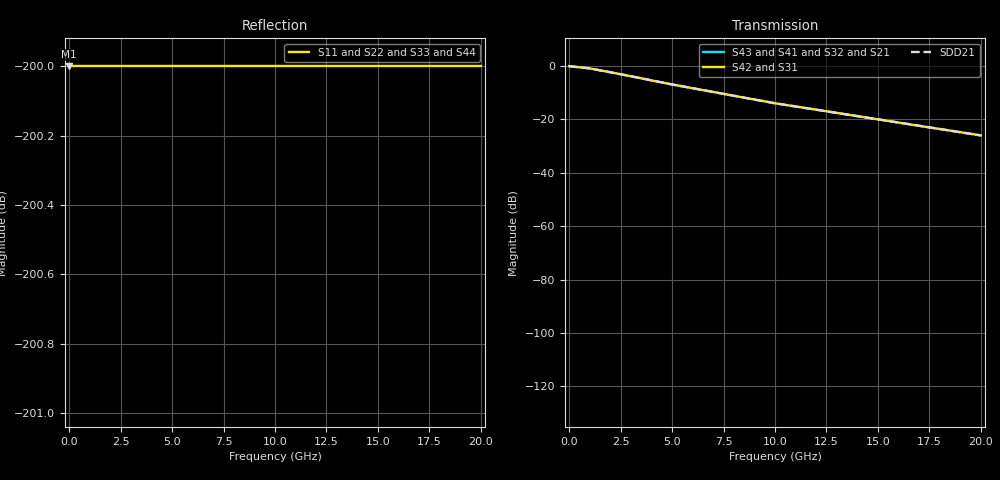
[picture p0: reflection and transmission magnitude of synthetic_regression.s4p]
! Synthetic reciprocal differential channel for software regression only
! Port order: TX+, TX-, RX+, RX-. Reference: 50 ohm single-ended.
# Hz S RI R 50
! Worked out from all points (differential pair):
!   6 points, 1 MHz to 20 GHz, reference 50 ohm
!   strongest paths, dB at 1 MHz, 1 GHz, 5 GHz, 10 GHz, 20 GHz:
!     S42: -0.1, -0.9, -6.9, -14.0, -26.0
!     S31: -0.1, -0.9, -6.9, -14.0, -26.0
!     S43: -, -, -, -, -
!     S41: -, -, -, -, -
!     S32: -, -, -, -, -
!     S21: -, -, -, -, -
!   taken as a pair (ports 2,1 in; 4,3 out), SDD21 dB: -0.1, -0.9, -6.9, -14.0, -26.0
!   lowest |S11| = - dB at 1 MHz (marker M1), VSWR 1.00, Z = 50 + j0 ohm
!   |S11| at or under -10 dB: start of sweep to end of sweep
1000000  0 0  0 0  0.99 0  0 0
         0 0  0 0  0 0  0.99 0
         0.99 0  0 0  0 0  0 0
         0 0  0.99 0  0 0  0 0
1e9  0 0  0 0  0.9 0  0 0
     0 0  0 0  0 0  0.9 0
     0.9 0  0 0  0 0  0 0
     0 0  0.9 0  0 0  0 0
2.5e9  0 0  0 0  0.7 0  0 0
       0 0  0 0  0 0  0.7 0
       0.7 0  0 0  0 0  0 0
       0 0  0.7 0  0 0  0 0
5e9  0 0  0 0  0.45 0  0 0
     0 0  0 0  0 0  0.45 0
     0.45 0  0 0  0 0  0 0
     0 0  0.45 0  0 0  0 0
1e10  0 0  0 0  0.2 0  0 0
      0 0  0 0  0 0  0.2 0
      0.2 0  0 0  0 0  0 0
      0 0  0.2 0  0 0  0 0
2e10  0 0  0 0  0.05 0  0 0
      0 0  0 0  0 0  0.05 0
      0.05 0  0 0  0 0  0 0
      0 0  0.05 0  0 0  0 0
